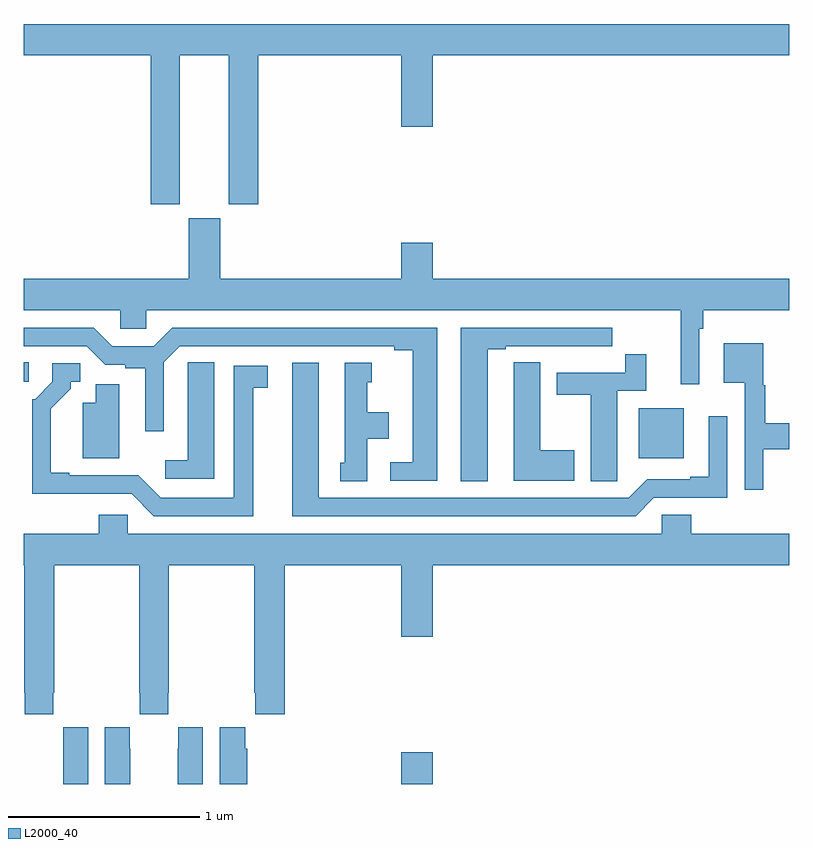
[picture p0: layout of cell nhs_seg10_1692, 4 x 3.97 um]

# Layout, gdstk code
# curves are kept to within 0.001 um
import gdstk
lib = gdstk.Library(unit=1e-6, precision=1e-09)
def R(c, l, rs):  # rectangles x0, y0, x1, y1
    for r in rs: c.add(gdstk.rectangle(r[:2], r[2:], *l))
def P(c, l, *ps):  # polygons
    for p in ps: c.add(gdstk.Polygon(p, *l))
L2000_40 = (2000, 40)

nhs_seg10_1692 = lib.new_cell('nhs_seg10_1692')
R(nhs_seg10_1692, L2000_40, [(200.972,1304.5,201.136,1304.665), (202.214,1306.202,202.45,1306.465), (199,1306.602,199.027,1306.703)])
P(nhs_seg10_1692, L2000_40, [(199,1308.308),(199.664,1308.308),(199.664,1307.529),(199.816,1307.529),(199.816,1308.308),(200.072,1308.308),(200.072,1307.529),(200.225,1307.529),(200.225,1308.308),(200.972,1308.308),(200.972,1307.934),(201.136,1307.934),(201.136,1308.308),(203,1308.308),(203,1308.472),(199,1308.472)],
  [(202.53,1306.88),(202.55,1306.88),(202.55,1306.976),(203,1306.976),(203,1307.14),(201.136,1307.14),(201.136,1307.329),(200.972,1307.329),(200.972,1307.14),(200.026,1307.14),(200.026,1307.457),(199.862,1307.457),(199.862,1307.14),(199,1307.14),(199,1306.976),(199.503,1306.976),(199.503,1306.878),(199.641,1306.878),(199.641,1306.976),(202.433,1306.976),(202.433,1306.59),(202.53,1306.59)],
  [(201.16,1306.884),(199.775,1306.884),(199.679,1306.788),(199.461,1306.788),(199.365,1306.884),(199,1306.884),(199,1306.788),(199.329,1306.788),(199.425,1306.692),(199.53,1306.692),(199.53,1306.672),(199.634,1306.672),(199.634,1306.344),(199.731,1306.344),(199.731,1306.704),(199.815,1306.788),(200.936,1306.788),(200.936,1306.768),(201.032,1306.768),(201.032,1306.182),(200.916,1306.182),(200.916,1306.086),(201.16,1306.086)],
  [(201.424,1306.773),(201.52,1306.773),(201.52,1306.788),(201.796,1306.788),(201.796,1306.787),(201.962,1306.787),(201.962,1306.788),(202.075,1306.788),(202.075,1306.884),(201.284,1306.884),(201.284,1306.081),(201.424,1306.081)],
  [(202.864,1306.25),(203,1306.25),(203,1306.385),(202.876,1306.385),(202.876,1306.584),(202.864,1306.584),(202.864,1306.804),(202.658,1306.804),(202.658,1306.598),(202.767,1306.598),(202.767,1306.038),(202.864,1306.038)],
  [(202.101,1306.192),(202.102,1306.192),(202.102,1306.554),(202.253,1306.554),(202.253,1306.747),(202.144,1306.747),(202.144,1306.65),(201.785,1306.65),(201.785,1306.534),(201.962,1306.534),(201.962,1306.081),(202.101,1306.081)],
  [(201.877,1306.245),(201.7,1306.245),(201.7,1306.703),(201.561,1306.703),(201.561,1306.595),(201.56,1306.595),(201.56,1306.085),(201.877,1306.085)],
  [(199.996,1306.703),(199.857,1306.703),(199.857,1306.595),(199.856,1306.595),(199.856,1306.192),(199.74,1306.192),(199.74,1306.095),(199.996,1306.095)],
  [(200.794,1306.304),(200.908,1306.304),(200.908,1306.444),(200.794,1306.444),(200.794,1306.599),(200.818,1306.599),(200.818,1306.702),(200.678,1306.702),(200.678,1306.179),(200.654,1306.179),(200.654,1306.081),(200.794,1306.081)],
  [(202.293,1305.996),(202.677,1305.996),(202.677,1306.423),(202.58,1306.423),(202.58,1306.105),(202.484,1306.105),(202.484,1306.092),(202.257,1306.092),(202.161,1305.996),(200.542,1305.996),(200.542,1306.702),(200.402,1306.702),(200.402,1305.9),(202.197,1305.9)],
  [(200.2,1306.57),(200.275,1306.57),(200.275,1306.686),(200.096,1306.686),(200.096,1305.996),(199.716,1305.996),(199.599,1306.113),(199.237,1306.113),(199.237,1306.126),(199.141,1306.126),(199.141,1306.462),(199.246,1306.567),(199.246,1306.602),(199.296,1306.602),(199.296,1306.698),(199.149,1306.698),(199.149,1306.602),(199.059,1306.512),(199.044,1306.512),(199.044,1306.016),(199.563,1306.017),(199.68,1305.9),(200.2,1305.9)],
  [(199.498,1306.59),(199.376,1306.59),(199.376,1306.492),(199.307,1306.492),(199.307,1306.202),(199.498,1306.202)],
  [(199.542,1305.906),(199.391,1305.906),(199.391,1305.808),(199,1305.808),(199,1305.644),(199.003,1305.644),(199.003,1304.977),(199.005,1304.977),(199.005,1304.865),(199.155,1304.865),(199.155,1304.977),(199.158,1304.977),(199.158,1305.644),(199.603,1305.644),(199.603,1304.977),(199.605,1304.977),(199.605,1304.865),(199.755,1304.865),(199.755,1304.977),(199.758,1304.977),(199.758,1305.644),(200.203,1305.644),(200.203,1304.977),(200.209,1304.977),(200.209,1304.865),(200.363,1304.865),(200.363,1305.644),(200.972,1305.644),(200.972,1305.27),(201.136,1305.27),(201.136,1305.644),(203,1305.644),(203,1305.808),(202.487,1305.808),(202.487,1305.906),(202.335,1305.906),(202.335,1305.808),(199.542,1305.808)],
  [(199.336,1304.797),(199.206,1304.797),(199.206,1304.684),(199.205,1304.684),(199.205,1304.5),(199.336,1304.5)],
  [(199.555,1304.684),(199.554,1304.684),(199.554,1304.797),(199.424,1304.797),(199.424,1304.5),(199.555,1304.5)],
  [(199.936,1304.797),(199.806,1304.797),(199.806,1304.684),(199.805,1304.684),(199.805,1304.5),(199.936,1304.5)],
  [(200.168,1304.684),(200.158,1304.684),(200.158,1304.797),(200.024,1304.797),(200.024,1304.5),(200.168,1304.5)])

lib.write_gds('nhs_seg10_1692.gds')
